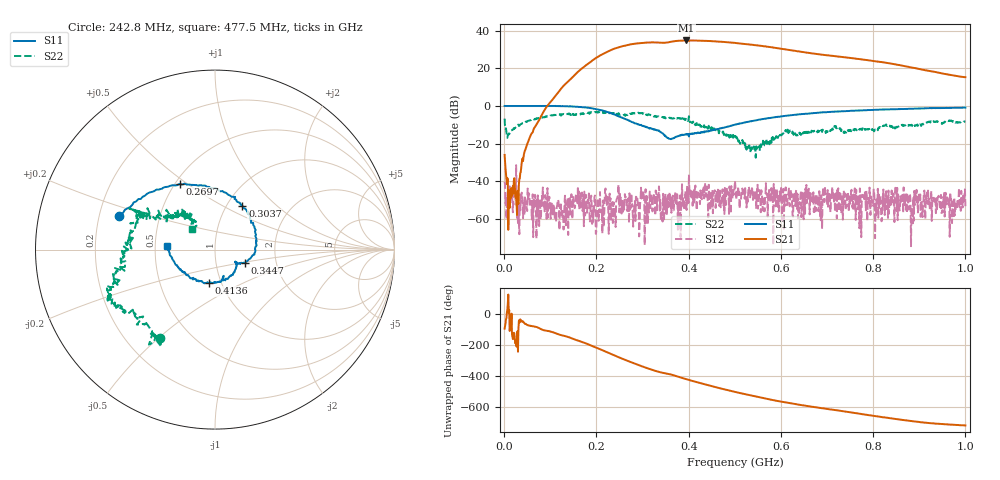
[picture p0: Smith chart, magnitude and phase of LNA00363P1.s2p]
! Created with skrf 1.9.0 (http://scikit-rf.org).
# Hz S RI R 50.0
!freq ReS11 ImS11 ReS21 ImS21 ReS12 ImS12 ReS22 ImS22
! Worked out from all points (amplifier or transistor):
!   1001 points, 1 MHz to 1 GHz, reference 50 ohm
!   highest |S21| = 34.8 dB at 394.6 MHz (marker M1)
!   |S21| within 3 dB of that: 257.3 MHz to 561 MHz (303.7 MHz wide, 74.2 % of centre)
!   unconditionally stable (mu >= 1): start of sweep to 67.86 MHz; 248.5 MHz to 385.6 MHz; 401.1 MHz to end of sweep (the widest 3 of 28)
!   at 166.8 MHz: K = 0.59, MSG = 32.5 dB, |S12| = -45.5 dB
!   at 500.5 MHz: K = 1.10, MAG = 34.7 dB, |S12| = -39.8 dB
!   at 1 GHz: K = 6.04, MAG = 23.5 dB, |S12| = -53.3 dB
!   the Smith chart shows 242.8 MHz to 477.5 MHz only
!   S11 on the Smith chart (normalised r, x): 242.8 MHz: 0.28, +0.15; 269.7 MHz: 0.53, +0.47; 303.7 MHz: 1.18, +0.63; 344.7 MHz: 1.38, -0.21; 413.6 MHz: 0.88, -0.34; 477.5 MHz: 0.58, +0.02
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1000000  0.9977 0.0157  -0.00213 -0.05  -0.0094 0.00227  0.321 0.3264
1.08892e8  0.5082 -0.8535  -0.8198 -1.485  0.00126 -0.00147  0.4403 -0.3548
1.67833e8  -0.2623 -0.8901  -9.739 -0.4329  0.00169 -0.00405  0.0386 -0.6286
2.09791e8  -0.6925 -0.3483  -15.01 16.73  -0.000724 0.00145  -0.1846 -0.6499
2.42758e8  -0.5365 0.1847  0.4593 34.23  -0.00265 0.000698  -0.3067 -0.4905
2.69731e8  -0.1942 0.3663  23.46 34.62  1.19e-05 0.00318  -0.4968 -0.3574
3.03697e8  0.1525 0.2437  45.23 14.48  -0.00344 0.000733  -0.5779 -0.2098
3.34666e8  0.2196 -0.021  47.03 -10.33  -0.00138 0.0036  -0.5231 -0.0525
3.44656e8  0.1666 -0.0743  44.38 -16.23  -0.00122 0.00446  -0.4909 -0.0051
3.7063e8  0.1194 -0.0856  41.68 -32.46  -0.000288 0.00514  -0.4726 0.1462
3.94606e8  0.0669 -0.1621  27.29 -47.54  -0.00165 0.00211  -0.4072 0.1804
4.13587e8  -0.0319 -0.1851  12.78 -52.86  0.00399 0.00486  -0.2689 0.175
4.43557e8  -0.1693 -0.1246  -9.673 -51.99  0.00791 0.0014  -0.1904 0.2273
4.77523e8  -0.2662 0.0187  -29.48 -40.39  0.00126 -0.000454  -0.1282 0.1153
5.005e8  -0.2825 0.1531  -37.75 -28.5  0.007 0.00755  -0.0754 0.1125
5.39461e8  -0.1919 0.3523  -41.12 -7.876  0.00306 -0.000817  -0.0733 0.00923
5.85415e8  0.0135 0.4972  -33.68 10.72  -0.000919 -0.0044  -0.1308 -0.0392
6.25375e8  0.2055 0.5366  -22.92 18.72  0.000987 -0.00073  -0.1966 -0.0684
6.67333e8  0.4028 0.4942  -12.6 21.31  -0.00155 -0.00257  -0.2154 0.0145
7.55245e8  0.6868 0.2815  2.452 18.27  0.00101 0.00171  -0.2196 0.0726
8.34166e8  0.8089 0.0173  9.242 9.994  0.00133 0.000308  -0.2959 0.0481
1e9  0.7323 -0.5273  5.792 -0.0894  -0.000243 0.00214  -0.2218 0.3078
